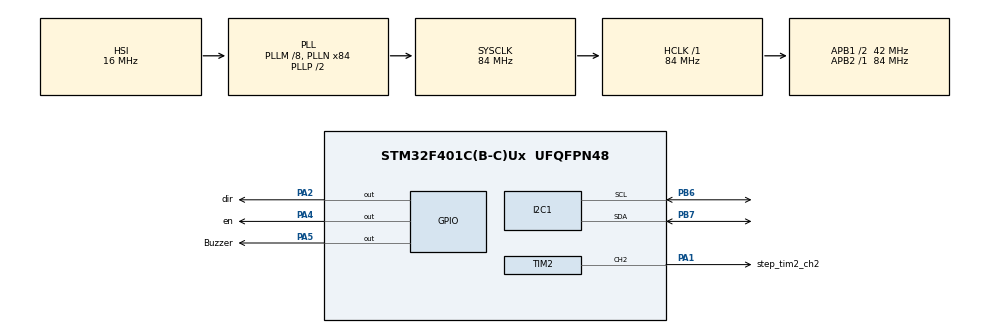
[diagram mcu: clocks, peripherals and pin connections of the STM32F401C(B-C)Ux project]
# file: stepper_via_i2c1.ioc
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I2C1.OwnAddress=0x12
Mcu.Family=STM32F4
Mcu.Name=STM32F401C(B-C)Ux
Mcu.Package=UFQFPN48
NVIC.I2C1_ER_IRQn=true\:0\:0\:false\:false\:true\:true\:true\:true
NVIC.I2C1_EV_IRQn=true\:0\:0\:false\:false\:true\:true\:true\:true
NVIC.PriorityGroup=NVIC_PRIORITYGROUP_4
PA1.GPIO_Label=step_tim2_ch2
PA1.Signal=S_TIM2_CH2
PA13.Mode=Serial_Wire
PA13.Signal=SYS_JTMS-SWDIO
PA14.Mode=Serial_Wire
PA14.Signal=SYS_JTCK-SWCLK
PA2.GPIO_Label=dir
PA2.Signal=GPIO_Output
PA4.GPIO_Label=en
PA4.Signal=GPIO_Output
PA5.GPIO_Label=Buzzer
PA5.Signal=GPIO_Output
PB6.Mode=I2C
PB6.Signal=I2C1_SCL
PB7.Mode=I2C
PB7.Signal=I2C1_SDA
PC14-OSC32_IN.Mode=LSE-External-Oscillator
PC14-OSC32_IN.Signal=RCC_OSC32_IN
PC15-OSC32_OUT.Mode=LSE-External-Oscillator
PC15-OSC32_OUT.Signal=RCC_OSC32_OUT
PH0\ -\ OSC_IN.Mode=HSE-External-Oscillator
PH0\ -\ OSC_IN.Signal=RCC_OSC_IN
PH1\ -\ OSC_OUT.Mode=HSE-External-Oscillator
PH1\ -\ OSC_OUT.Signal=RCC_OSC_OUT
ProjectManager.HeapSize=0x200
ProjectManager.StackSize=0x400
ProjectManager.TargetToolchain=STM32CubeIDE
RCC.48MHZClocksFreq_Value=42000000
RCC.AHBFreq_Value=84000000
RCC.APB1CLKDivider=RCC_HCLK_DIV2
RCC.APB1Freq_Value=42000000
RCC.APB1TimFreq_Value=84000000
RCC.APB2Freq_Value=84000000
RCC.APB2TimFreq_Value=84000000
RCC.CortexFreq_Value=84000000
RCC.HCLKFreq_Value=84000000
RCC.HSE_VALUE=25000000
RCC.HSI_VALUE=16000000
RCC.PLLM=8
RCC.PLLN=84
RCC.SYSCLKFreq_VALUE=84000000
RCC.SYSCLKSource=RCC_SYSCLKSOURCE_PLLCLK
RCC.VCOOutputFreq_Value=168000000
SH.S_TIM2_CH2.0=TIM2_CH2,PWM Generation2 CH2
TIM2.AutoReloadPreload=TIM_AUTORELOAD_PRELOAD_ENABLE
TIM2.Channel-PWM\ Generation2\ CH2=TIM_CHANNEL_2
TIM2.Period=999
TIM2.Prescaler=83
TIM2.Pulse-PWM\ Generation2\ CH2=500
VP_TIM2_VS_ClockSourceINT.Mode=Internal
board=custom

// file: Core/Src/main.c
/* USER CODE BEGIN Header */
/**
  ******************************************************************************
  * @file           : main.c
  * @brief          : Main program body
  ******************************************************************************
  * @attention
  *
  * Copyright (c) 2025 STMicroelectronics.
  * All rights reserved.
  *
  * This software is licensed under terms that can be found in the LICENSE file
  * in the root directory of this software component.
  * If no LICENSE file comes with this software, it is provided AS-IS.
  *
  ******************************************************************************
  */
/* USER CODE END Header */
#include "main.h"

/* USER CODE BEGIN Includes */
#include "stepper.h"
#include "i2c_slave.h"

/* USER CODE END Includes */

I2C_HandleTypeDef hi2c1;

TIM_HandleTypeDef htim2;

void SystemClock_Config(void);
static void MX_GPIO_Init(void);
static void MX_TIM2_Init(void);
static void MX_I2C1_Init(void);

int main(void)
{

  /* MCU Configuration--------------------------------------------------------*/

  /* Reset of all peripherals, Initializes the Flash interface and the Systick. */
  HAL_Init();

  /* Configure the system clock */
  SystemClock_Config();

  /* Initialize all configured peripherals */
  MX_GPIO_Init();
  MX_TIM2_Init();
  MX_I2C1_Init();
  /* USER CODE BEGIN 2 */

  HAL_I2C_EnableListen_IT(&hi2c1);

  /* USER CODE END 2 */

  /* Infinite loop */
  /* USER CODE BEGIN WHILE */

  while (1)
  {
	  if (i2c_cmd_ready)
	      {
	          i2c_cmd_ready = 0;   // clear flag

	          // ----- COMMAND DECODING -----

	          if (RxData[0] == 0x01) // fill flowcell
	          {
	        	  stepper_move(0, 1, 8000); //6000
	        	  HAL_Delay(60);
	        	  stepper_move(0, 1, 4000);

	              HAL_Delay(2000);

	              stepper_move(0, 3, 6800); //7000

	              HAL_Delay(60);
	              stepper_move(0, 1, 200); //900

	              HAL_Delay(60);
	              stepper_move(1, 2, 4000);
	          }

	          if (RxData[1] == 0x01) // clear flowcell
	          {
	              HAL_Delay(60);
	              stepper_move(0, 6, 7000);
	          }

	          if (RxData[2] == 0x01) // flow di
			  {
				  HAL_Delay(60);
				  stepper_move(0, 6, 7000);
			  }

	          if (RxData[3] == 0x01) // clear with di
			  {
				  HAL_Delay(60);
				  stepper_move(0, 3, 7000);
			  }

	          if (RxData[4] == 0x01) // reverse
			  {
				  HAL_Delay(60);
				  stepper_move(1, 3, 7000);
			  }

	          if (RxData[5] == 0x01) //
			  {
				  HAL_Delay(60);
				  stepper_move(1, 3, 7000);
			  }
	      }

    /* USER CODE END WHILE */

  }
}

void SystemClock_Config(void)
{
  RCC_OscInitTypeDef RCC_OscInitStruct = {0};
  RCC_ClkInitTypeDef RCC_ClkInitStruct = {0};

  /** Configure the main internal regulator output voltage
  */
  __HAL_RCC_PWR_CLK_ENABLE();
  __HAL_PWR_VOLTAGESCALING_CONFIG(PWR_REGULATOR_VOLTAGE_SCALE2);

  /** Initializes the RCC Oscillators according to the specified parameters
  * in the RCC_OscInitTypeDef structure.
  */
  RCC_OscInitStruct.OscillatorType = RCC_OSCILLATORTYPE_HSI;
  RCC_OscInitStruct.HSIState = RCC_HSI_ON;
  RCC_OscInitStruct.HSICalibrationValue = RCC_HSICALIBRATION_DEFAULT;
  RCC_OscInitStruct.PLL.PLLState = RCC_PLL_ON;
  RCC_OscInitStruct.PLL.PLLSource = RCC_PLLSOURCE_HSI;
  RCC_OscInitStruct.PLL.PLLM = 8;
  RCC_OscInitStruct.PLL.PLLN = 84;
  RCC_OscInitStruct.PLL.PLLP = RCC_PLLP_DIV2;
  RCC_OscInitStruct.PLL.PLLQ = 4;
  if (HAL_RCC_OscConfig(&RCC_OscInitStruct) != HAL_OK)
  {
    Error_Handler();
  }

  /** Initializes the CPU, AHB and APB buses clocks
  */
  RCC_ClkInitStruct.ClockType = RCC_CLOCKTYPE_HCLK|RCC_CLOCKTYPE_SYSCLK
                              |RCC_CLOCKTYPE_PCLK1|RCC_CLOCKTYPE_PCLK2;
  RCC_ClkInitStruct.SYSCLKSource = RCC_SYSCLKSOURCE_PLLCLK;
  RCC_ClkInitStruct.AHBCLKDivider = RCC_SYSCLK_DIV1;
  RCC_ClkInitStruct.APB1CLKDivider = RCC_HCLK_DIV2;
  RCC_ClkInitStruct.APB2CLKDivider = RCC_HCLK_DIV1;

  if (HAL_RCC_ClockConfig(&RCC_ClkInitStruct, FLASH_LATENCY_2) != HAL_OK)
  {
    Error_Handler();
  }
}

static void MX_I2C1_Init(void)
{

  hi2c1.Instance = I2C1;
  hi2c1.Init.ClockSpeed = 100000;
  hi2c1.Init.DutyCycle = I2C_DUTYCYCLE_2;
  hi2c1.Init.OwnAddress1 = 36;
  hi2c1.Init.AddressingMode = I2C_ADDRESSINGMODE_7BIT;
  hi2c1.Init.DualAddressMode = I2C_DUALADDRESS_DISABLE;
  hi2c1.Init.OwnAddress2 = 0;
  hi2c1.Init.GeneralCallMode = I2C_GENERALCALL_DISABLE;
  hi2c1.Init.NoStretchMode = I2C_NOSTRETCH_DISABLE;
  if (HAL_I2C_Init(&hi2c1) != HAL_OK)
  {
    Error_Handler();
  }

}

static void MX_TIM2_Init(void)
{

  TIM_ClockConfigTypeDef sClockSourceConfig = {0};
  TIM_MasterConfigTypeDef sMasterConfig = {0};
  TIM_OC_InitTypeDef sConfigOC = {0};

  htim2.Instance = TIM2;
  htim2.Init.Prescaler = 83;
  htim2.Init.CounterMode = TIM_COUNTERMODE_UP;
  htim2.Init.Period = 999;
  htim2.Init.ClockDivision = TIM_CLOCKDIVISION_DIV1;
  htim2.Init.AutoReloadPreload = TIM_AUTORELOAD_PRELOAD_ENABLE;
  if (HAL_TIM_Base_Init(&htim2) != HAL_OK)
  {
    Error_Handler();
  }
  sClockSourceConfig.ClockSource = TIM_CLOCKSOURCE_INTERNAL;
  if (HAL_TIM_ConfigClockSource(&htim2, &sClockSourceConfig) != HAL_OK)
  {
    Error_Handler();
  }
  if (HAL_TIM_PWM_Init(&htim2) != HAL_OK)
  {
    Error_Handler();
  }
  sMasterConfig.MasterOutputTrigger = TIM_TRGO_RESET;
  sMasterConfig.MasterSlaveMode = TIM_MASTERSLAVEMODE_DISABLE;
  if (HAL_TIMEx_MasterConfigSynchronization(&htim2, &sMasterConfig) != HAL_OK)
  {
    Error_Handler();
  }
  sConfigOC.OCMode = TIM_OCMODE_PWM1;
  sConfigOC.Pulse = 500;
  sConfigOC.OCPolarity = TIM_OCPOLARITY_HIGH;
  sConfigOC.OCFastMode = TIM_OCFAST_DISABLE;
  if (HAL_TIM_PWM_ConfigChannel(&htim2, &sConfigOC, TIM_CHANNEL_2) != HAL_OK)
  {
    Error_Handler();
  }
  HAL_TIM_MspPostInit(&htim2);

}

static void MX_GPIO_Init(void)
{
  GPIO_InitTypeDef GPIO_InitStruct = {0};

  /* GPIO Ports Clock Enable */
  __HAL_RCC_GPIOC_CLK_ENABLE();
  __HAL_RCC_GPIOH_CLK_ENABLE();
  __HAL_RCC_GPIOA_CLK_ENABLE();
  __HAL_RCC_GPIOB_CLK_ENABLE();

  /*Configure GPIO pin Output Level */
  HAL_GPIO_WritePin(GPIOA, dir_Pin|en_Pin|Buzzer_Pin, GPIO_PIN_RESET);

  /*Configure GPIO pins : dir_Pin en_Pin Buzzer_Pin */
  GPIO_InitStruct.Pin = dir_Pin|en_Pin|Buzzer_Pin;
  GPIO_InitStruct.Mode = GPIO_MODE_OUTPUT_PP;
  GPIO_InitStruct.Pull = GPIO_NOPULL;
  GPIO_InitStruct.Speed = GPIO_SPEED_FREQ_LOW;
  HAL_GPIO_Init(GPIOA, &GPIO_InitStruct);

}

void Error_Handler(void)
{
  __disable_irq();
  while (1)
  {
  }
}
